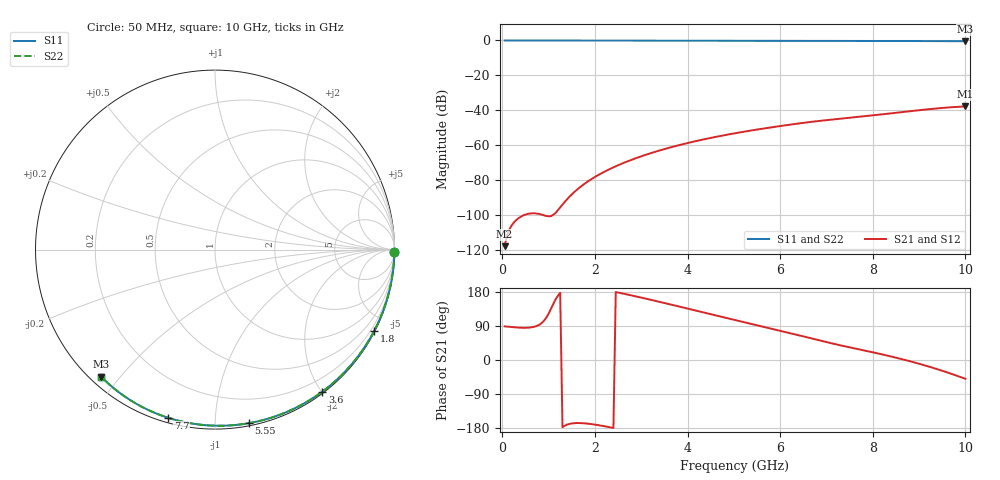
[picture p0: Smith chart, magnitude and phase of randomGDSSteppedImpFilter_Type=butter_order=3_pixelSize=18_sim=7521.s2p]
! freq	dB(S11)	phase(S11)	dB(S12)	phase(S12)
!  dB(S21)	phase(S21)	dB(S22)	phase(S22)
!S-par simulation data
#  GHz  S  DB  R 50
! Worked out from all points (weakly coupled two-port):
!   200 points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, 50 MHz to 10 GHz, reference 50 ohm
!   highest |S21| = -37.75 dB at 10 GHz (marker M1); lowest = -117.7 dB at 50 MHz (marker M2)
!   lowest |S11| = -0.4 dB at 10 GHz (marker M3), VSWR 39.71, Z = 1.51 - j22.3 ohm
!   |S11| at or under -10 dB: nowhere
!   |S22| runs from -0.4 to 0.0 dB; largest |S21 - S12| = 0
!   S11 on the Smith chart (normalised r, x): 50 MHz: open; 1.8 GHz: 0.04, -4.15; 3.6 GHz: 0.02, -2.01; 5.55 GHz: 0.02, -1.21; 7.7 GHz: 0.02, -0.76; 10 GHz: 0.03, -0.45
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0.05  -0.00 -0.8  -117.67 88.8  -117.67 88.8  -0.00 -0.8
0.9  -0.02 -13.7  -100.01 103.5  -100.01 103.5  -0.02 -13.7
1.75  -0.03 -26.3  -82.47 -166.9  -82.47 -166.9  -0.03 -26.3
1.8  -0.03 -27.1  -81.51 -167.4  -81.51 -167.4  -0.03 -27.1
1.85  -0.04 -27.8  -80.60 -168.0  -80.60 -168.0  -0.04 -27.8
1.9  -0.04 -28.5  -79.73 -168.8  -79.73 -168.8  -0.04 -28.5
2.05  -0.04 -30.8  -77.31 -171.4  -77.31 -171.4  -0.04 -30.8
2.25  -0.04 -33.7  -74.47 -175.8  -74.47 -175.8  -0.04 -33.7
2.45  -0.05 -36.6  -71.96 179.4  -71.96 179.4  -0.05 -36.6
2.65  -0.05 -39.5  -69.71 174.2  -69.71 174.2  -0.05 -39.5
3  -0.06 -44.5  -66.27 164.7  -66.27 164.7  -0.06 -44.5
3.4  -0.07 -50.1  -62.90 153.3  -62.90 153.3  -0.07 -50.1
3.6  -0.07 -52.9  -61.39 147.5  -61.39 147.5  -0.07 -52.9
4.3  -0.09 -62.6  -56.86 126.9  -56.86 126.9  -0.09 -62.6
5.05  -0.11 -72.6  -52.96 104.7  -52.96 104.7  -0.11 -72.6
5.55  -0.13 -79.1  -50.76 90.1  -50.76 90.1  -0.13 -79.1
6.1  -0.15 -86.1  -48.58 74.2  -48.58 74.2  -0.15 -86.1
6.7  -0.18 -93.5  -46.47 56.3  -46.47 56.3  -0.18 -93.5
7.7  -0.24 -105.6  -43.74 28.3  -43.74 28.3  -0.24 -105.6
8.35  -0.29 -113.2  -41.82 10.6  -41.82 10.6  -0.29 -113.2
9.35  -0.37 -124.7  -38.95 -22.5  -38.95 -22.5  -0.37 -124.7
10  -0.44 -131.9  -37.75 -49.5  -37.75 -49.5  -0.44 -131.9
